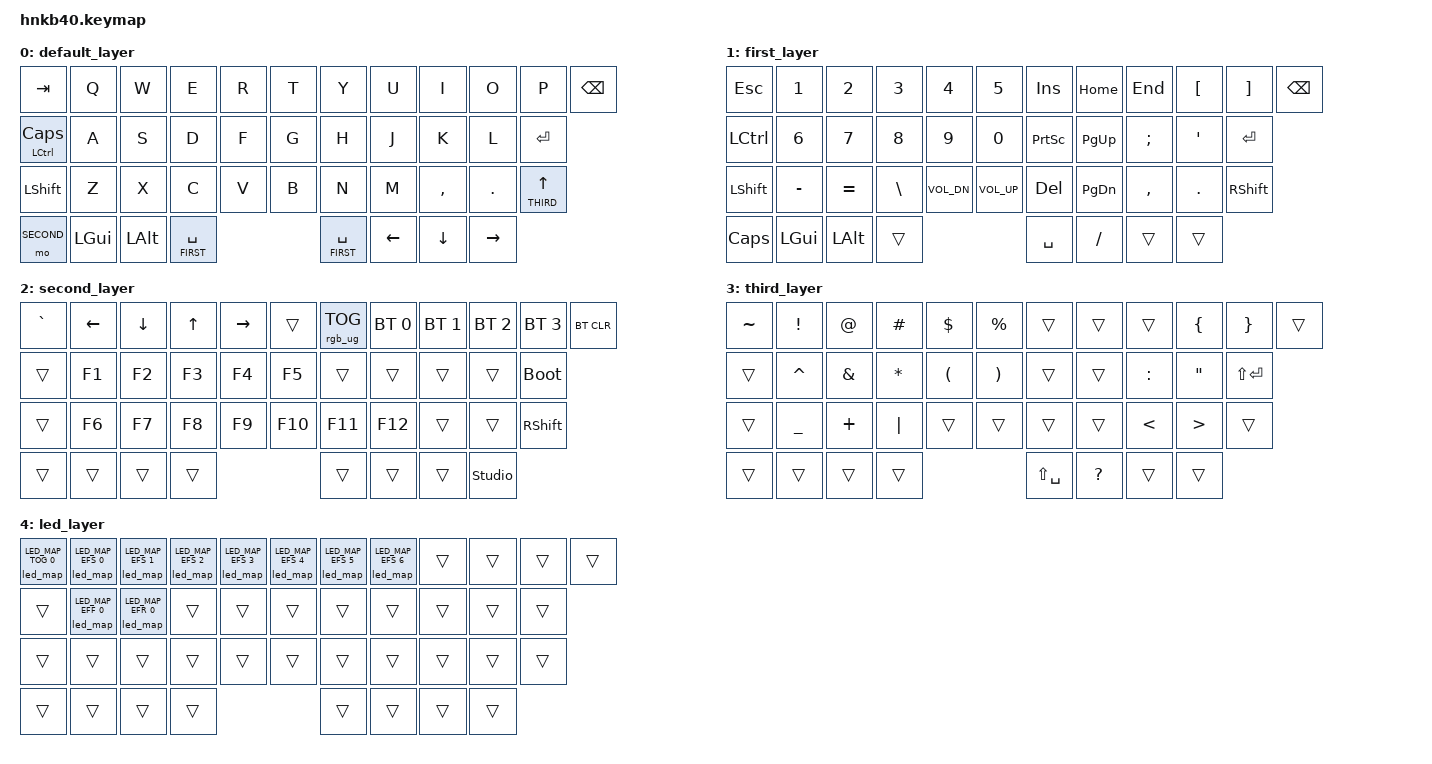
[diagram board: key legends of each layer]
#include <behaviors.dtsi>
#include <dt-bindings/zmk/keys.h>
#include <dt-bindings/zmk/rgb.h>
#include <dt-bindings/zmk/bt.h>
#include <dt-bindings/zmk/led_map.h>

#ifdef CONFIG_ZMK_STUDIO
#include <dt-bindings/zmk/studio.h>
#define STUDIO_UNLOCK &studio_unlock
#else
#define STUDIO_UNLOCK &trans
#endif

#define DEFAULT 0
#define FIRST   1
#define SECOND  2
#define THIRD   3
#define LED     4

/ {
    keymap {
        compatible = "zmk,keymap";

        default_layer {

            // | TAB         | Q | W | E | R | T | Y | U | I | O | P | BSPC |
            // | CAPS/CTRL   | A | S | D | F | G | H | J | K | L | ENTER     |
            // | LSHIFT      | Z | X | C | V | B | N | M | , | . | LT(3,UP)  |
            // | MO(2)       | WIN | ALT | LT(1,SPACE) | LT(1,SPACE) | LEFT | DOWN | RIGHT |
            bindings = <
                &kp TAB         &kp Q     &kp W     &kp E     &kp R      &kp T        &kp Y     &kp U     &kp I     &kp O     &kp P     &kp BSPC
                &mt LCTRL CAPS  &kp A     &kp S     &kp D     &kp F      &kp G        &kp H     &kp J     &kp K     &kp L     &kp RET
                &kp LSHFT       &kp Z     &kp X     &kp C     &kp V      &kp B        &kp N     &kp M     &kp COMMA &kp DOT   &lt THIRD UP
                &mo SECOND      &kp LGUI  &kp LALT  &lt FIRST SPACE         &lt FIRST SPACE     &kp LEFT  &kp DOWN  &kp RIGHT
            >;
        };

        first_layer {

            // | ESC | 1 | 2 | 3 | 4 | 5 | INS | HOME | END | [ | ] | BSPC |
            // | CTRL | 6 | 7 | 8 | 9 | 0 | PSCRN | PGUP | ; | ' | ENTER |
            // | SHIFT | - | = | \ | VOL- | VOL+ | DEL | PGDN | , | . | SHIFT |
            // | CAPS | WIN | ALT | --- | SPACE | / | --- | --- |
            bindings = <
                &kp ESC     &kp N1    &kp N2    &kp N3    &kp N4      &kp N5      &kp INS     &kp HOME   &kp END     &kp LBKT    &kp RBKT     &kp BSPC
                &kp LCTRL   &kp N6    &kp N7    &kp N8    &kp N9      &kp N0      &kp PSCRN   &kp PG_UP  &kp SEMI    &kp SQT     &kp RET
                &kp LSHFT   &kp MINUS &kp EQUAL &kp BSLH  &kp C_VOL_DN &kp C_VOL_UP &kp DEL    &kp PG_DN  &kp COMMA   &kp DOT     &kp RSHFT
                &kp CAPS    &kp LGUI  &kp LALT  &trans     &kp SPACE    &kp SLASH   &trans      &trans
            >;
        };

        second_layer {

            // | ` | ← | ↓ | ↑ | → | --- | RGB_TOG  | BT0 | BT1 | BT2 | BT3 | CLR |
            // | --- | F1 | F2 | F3 | F4 | F5       | --- | --- | --- | --- | BOOT |
            // | --- | F6 | F7 | F8 | F9 | F10 | F11 | F12 | --- | --- | SHIFT |
            // | --- | --- | --- | --- | --- | --- | --- | studio_unlock
            bindings = <
                &kp GRAVE   &kp LEFT   &kp DOWN  &kp UP     &kp RIGHT    &trans &rgb_ug RGB_TOG     &bt BT_SEL 0 &bt BT_SEL 1 &bt BT_SEL 2 &bt BT_SEL 3 &bt BT_CLR
                &trans      &kp F1     &kp F2    &kp F3     &kp F4       &kp F5      &trans              &trans      &trans      &trans      &bootloader
                &trans      &kp F6     &kp F7    &kp F8     &kp F9       &kp F10     &kp F11     &kp F12     &trans      &trans      &kp RSHFT
                &trans      &trans     &trans    &trans     &trans      &trans     &trans     &studio_unlock
            >;
        };

        third_layer {

            // | ~ | ! | @ | # | $ | % | --- | --- | --- | [ | ] | --- |
            // | --- | ^ | & | * | ( | ) | --- | --- | : | " | Shift+Enter |
            // | --- | _ | + | | | --- | --- | --- | --- | < | > | --- |
            // | --- | --- | --- | --- | Shift+Space | ? | --- | --- |
            bindings = <
                &kp TILDE   &kp EXCL   &kp AT     &kp POUND &kp DLLR     &kp PRCNT   &trans     &trans     &trans      &kp LBRC     &kp RBRC        &trans
                &trans      &kp CARET  &kp AMPS   &kp STAR  &kp LPAR     &kp RPAR    &trans     &trans      &kp COLON  &kp DQT      &kp LS(RET)
                &trans      &kp UNDER  &kp PLUS   &kp PIPE  &trans       &trans      &trans     &trans     &kp LESS_THAN &kp GREATER_THAN &trans
                &trans      &trans     &trans     &trans    &kp LS(SPACE) &kp QMARK  &trans     &trans
            >;
        };

        led_layer {

            // Per-key LED control layer (demo)
            // | TOG | OFF | SOLID | REACT | FADE | BREATH | SPEC | SWIRL | --- | --- | --- | --- |
            // | --- | EFF | EFR | --- | --- | --- | --- | --- | --- | --- | --- |
            // | --- | --- | --- | --- | --- | --- | --- | --- | --- | --- | --- |
            // | --- | --- | --- | --- | --- | --- | --- | --- |
            bindings = <
                &led_map LED_MAP_TOG 0  &led_map LED_MAP_EFS 0  &led_map LED_MAP_EFS 1  &led_map LED_MAP_EFS 2  &led_map LED_MAP_EFS 3  &led_map LED_MAP_EFS 4  &led_map LED_MAP_EFS 5  &led_map LED_MAP_EFS 6  &trans  &trans  &trans  &trans
                &trans  &led_map LED_MAP_EFF 0  &led_map LED_MAP_EFR 0  &trans  &trans  &trans  &trans  &trans  &trans  &trans  &trans
                &trans  &trans  &trans  &trans  &trans  &trans  &trans  &trans  &trans  &trans  &trans
                &trans  &trans  &trans  &trans  &trans  &trans  &trans  &trans
            >;
        };

        // Reserved layers for ZMK Studio
        extra1 {
            status = "reserved";
        };

        extra2 {
            status = "reserved";
        };

        extra3 {
            status = "reserved";
        };

        extra4 {
            status = "reserved";
        };

        extra5 {
            status = "reserved";
        };
    };
};
